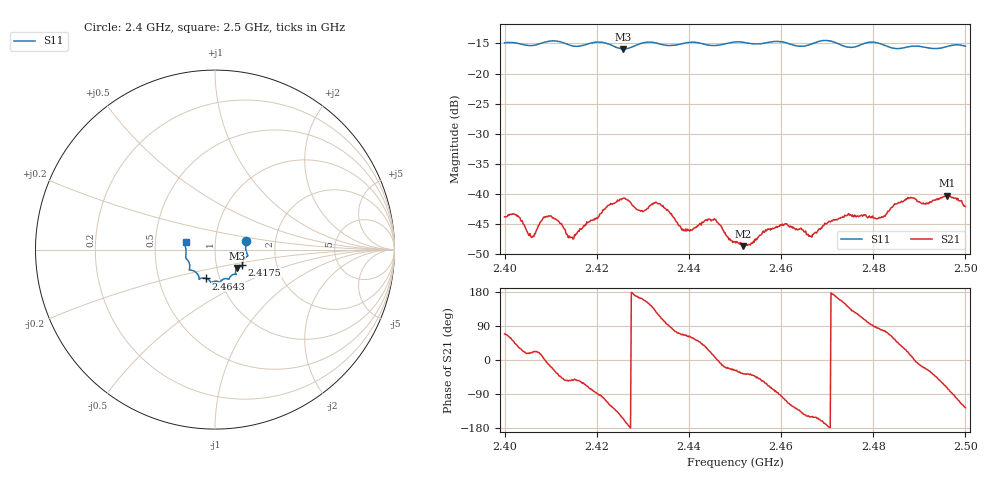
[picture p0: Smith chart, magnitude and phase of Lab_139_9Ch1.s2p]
# Hz S RI R 50
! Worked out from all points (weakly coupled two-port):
!   601 points, 2.4 GHz to 2.5 GHz, reference 50 ohm
!   highest |S21| = -40.32 dB at 2.496 GHz (marker M1); lowest = -48.7 dB at 2.4518 GHz (marker M2)
!   lowest |S11| = -15.9 dB at 2.4257 GHz (marker M3), VSWR 1.38, Z = 62.5 - j13.2 ohm
!   |S11| at or under -10 dB: start of sweep to end of sweep
!   S12 and S22 are empty: the file has one direction only
!   S11 on the Smith chart (normalised r, x): 2.4 GHz: 1.41, +0.14; 2.4175 GHz: 1.34, -0.23; 2.4643 GHz: 0.86, -0.29; 2.5 GHz: 0.72, +0.06
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2.4e9  0.1734 0.0487  0.00234 0.00601  0 0  0 0
2.402833e9  0.1749 0.0356  0.0053 0.00397  0 0  0 0
2.405833e9  0.1706 0.00384  0.00409 0.00147  0 0  0 0
2.409333e9  0.1822 -0.0308  0.00636 -0.00102  0 0  0 0
2.414333e9  0.164 -0.0496  0.00255 -0.00353  0 0  0 0
2.416667e9  0.153 -0.0743  0.0026 -0.00435  0 0  0 0
2.4175e9  0.1519 -0.0837  0.00234 -0.00505  0 0  0 0
2.425667e9  0.1228 -0.1027  -0.00821 -0.00408  0 0  0 0
2.429667e9  0.1164 -0.135  -0.00694 0.00218  0 0  0 0
2.433333e9  0.1129 -0.1371  -0.0041 0.00717  0 0  0 0
2.438667e9  0.0809 -0.1581  0.00192 0.00474  0 0  0 0
2.4455e9  0.0514 -0.1629  0.00613 0.00109  0 0  0 0
2.45e9  0.0287 -0.181  0.00355 -0.00185  0 0  0 0
2.451833e9  0.0231 -0.1801  0.00296 -0.00218  0 0  0 0
2.460333e9  -0.0248 -0.1815  -0.000869 -0.00554  0 0  0 0
2.464333e9  -0.05 -0.1608  -0.0038 -0.00354  0 0  0 0
2.466667e9  -0.0761 -0.1592  -0.00377 -0.00219  0 0  0 0
2.474333e9  -0.1002 -0.1325  -0.00527 0.004  0 0  0 0
2.483333e9  -0.1405 -0.09  0.00263 0.00666  0 0  0 0
2.487667e9  -0.1588 -0.0523  0.00866 0.00294  0 0  0 0
2.496e9  -0.1664 0.0197  0.0029 -0.0092  0 0  0 0
2.5e9  -0.1636 0.0425  -0.00461 -0.00636  0 0  0 0
